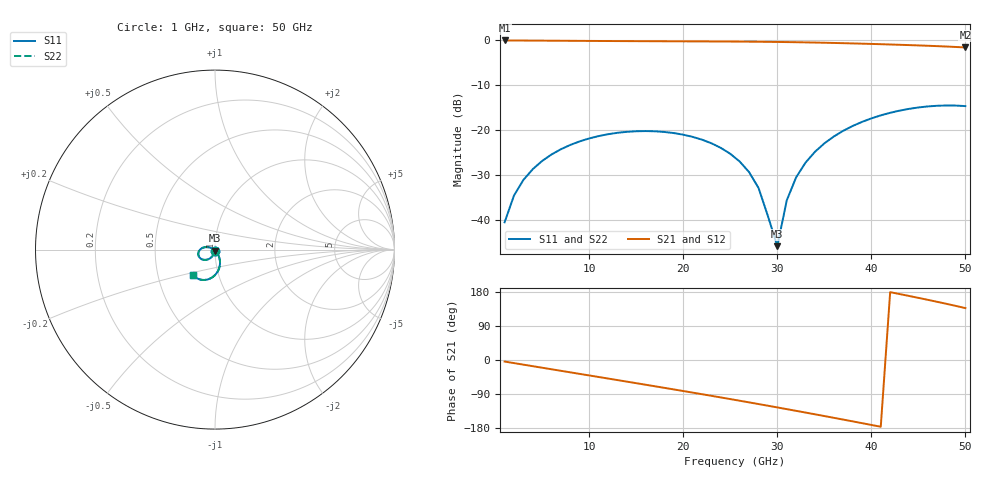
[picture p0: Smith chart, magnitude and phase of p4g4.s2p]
! Impedora 0.10.0 via model, case p4g4 (fullwave/cases.json), 2026-11-19
! Four planes (three cavities), lossy dielectric, four stitching vias: ports in the antipads.
! Ports: 1 = upper end, 2 = lower end, 50 ohm.
! Compared with the fine 3D mesh.
# Hz S RI R 50
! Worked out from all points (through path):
!   50 points, 1 GHz to 50 GHz, reference 50 ohm
!   highest |S21| = -0.01 dB at 1 GHz (marker M1); lowest = -1.6 dB at 50 GHz (marker M2)
!   group delay of S21, straight-line fit = 12.2 ps
!   lowest |S11| = -45.9 dB at 30 GHz (marker M3), VSWR 1.01, Z = 49.9 - j0.501 ohm
!   |S11| at or under -10 dB: start of sweep to end of sweep
!   |S22| runs from -45.9 to -14.5 dB; largest |S21 - S12| = 0
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1e9  -0.00144 -0.00929  0.9966 -0.0713  0.9966 -0.0713  -0.00144 -0.00929
2e9  -0.0041 -0.0183  0.9879 -0.142  0.9879 -0.142  -0.0041 -0.0183
3e9  -0.00795 -0.0267  0.9742 -0.2117  0.9742 -0.2117  -0.00795 -0.0267
4e9  -0.0129 -0.0345  0.9554 -0.2801  0.9554 -0.2801  -0.0129 -0.0345
7e9  -0.033 -0.0518  0.8709 -0.474  0.8709 -0.474  -0.033 -0.0518
1e10  -0.0568 -0.0575  0.7478 -0.6447  0.7478 -0.6447  -0.0568 -0.0575
1.4e10  -0.0837 -0.0467  0.5339 -0.8246  0.5339 -0.8246  -0.0837 -0.0467
1.8e10  -0.0931 -0.0213  0.2771 -0.9383  0.2771 -0.9383  -0.0931 -0.0213
2.1e10  -0.0842 -0.0011  0.0668 -0.9734  0.0668 -0.9734  -0.0842 -0.0011
2.3e10  -0.0708 0.00893  -0.0773 -0.9708  -0.0773 -0.9708  -0.0708 0.00893
2.6e10  -0.0425 0.0138  -0.2913 -0.9253  -0.2913 -0.9253  -0.0425 0.0138
2.7e10  -0.0319 0.012  -0.3604 -0.8989  -0.3604 -0.8989  -0.0319 0.012
2.8e10  -0.0212 0.00827  -0.4274 -0.8668  -0.4274 -0.8668  -0.0212 0.00827
3e10  -0.000894 -0.00502  -0.5535 -0.7862  -0.5535 -0.7862  -0.000894 -0.00502
3.1e10  0.00797 -0.0144  -0.6115 -0.7381  -0.6115 -0.7381  0.00797 -0.0144
3.2e10  0.0155 -0.0254  -0.6654 -0.6851  -0.6654 -0.6851  0.0155 -0.0254
3.3e10  0.0215 -0.0378  -0.7147 -0.6276  -0.7147 -0.6276  0.0215 -0.0378
3.4e10  0.0257 -0.0513  -0.7591 -0.566  -0.7591 -0.566  0.0257 -0.0513
3.7e10  0.0256 -0.0948  -0.859 -0.3612  -0.859 -0.3612  0.0256 -0.0948
4.2e10  -0.0162 -0.1553  -0.9008 0.0164  -0.9008 0.0164  -0.0162 -0.1553
4.6e10  -0.073 -0.1687  -0.8129 0.3151  -0.8129 0.3151  -0.073 -0.1687
5e10  -0.1214 -0.1401  -0.6097 0.5699  -0.6097 0.5699  -0.1214 -0.1401
